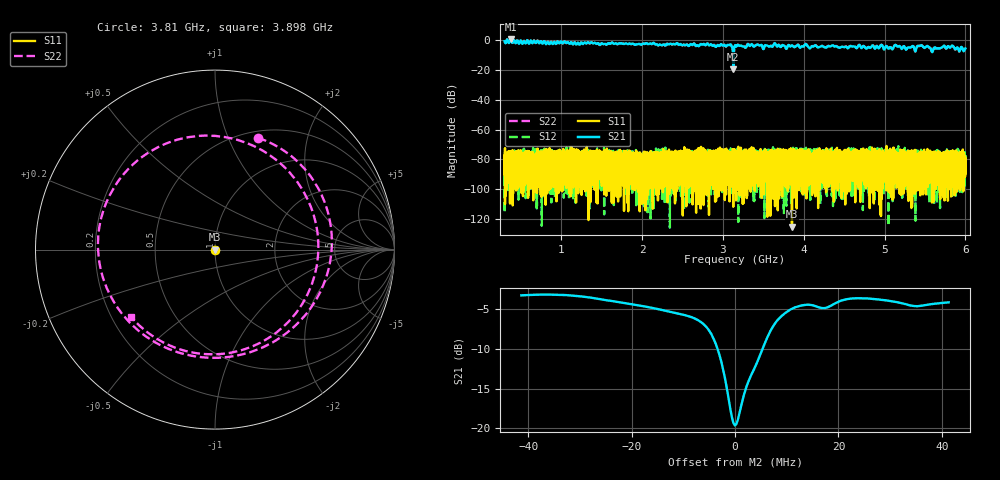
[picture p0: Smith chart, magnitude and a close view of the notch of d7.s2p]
!Agilent Technologies,N5230C,SG49000117,A.08.50.07
!Agilent N5230C: A.08.50.07
!Date: Sunday, March 17, 2024 02:41:05
!Correction: S11(Off)
!S21(Off)
!S12(Off)
!S22(Off)
!S2P File: Measurements: S11, S21, S12, S22:
# Hz S  RI  R 50
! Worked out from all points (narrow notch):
!   20001 points, 300 MHz to 6 GHz, reference 50 ohm
!   highest |S21| = 0.45 dB at 373.8 MHz (marker M1); lowest = -19.6 dB at 3.129 GHz (marker M2)
!   notch at M2: 16.0 dB deep, 6.93 MHz wide at half that depth
!   lowest |S11| = -124.9 dB at 3.855 GHz (marker M3), VSWR 1.00, Z = 50 - j1.93e-05 ohm
!   |S11| at or under -10 dB: start of sweep to end of sweep
!   |S22| runs from -19.6 to 0.5 dB; largest |S21 - S12| = 1.1
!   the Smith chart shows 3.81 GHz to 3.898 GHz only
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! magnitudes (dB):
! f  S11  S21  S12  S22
! 300 MHz  -89.0  -0.9  -83.1  -0.9
! 373.8 MHz  -90.5  0.5  -90.6  0.5
! 1.25 GHz  -91.9  -1.8  -83.0  -1.7
! 2.2 GHz  -82.2  -3.7  -85.6  -3.7
! 3.078 GHz  -79.1  -3.5  -76.4  -3.5
! 3.129 GHz  -83.0  -19.6  -80.8  -19.6
! 3.15 GHz  -86.8  -3.9  -76.7  -3.9
! 3.166 GHz  -77.1  -4.5  -86.5  -4.4
! 3.2 GHz  -78.9  -3.9  -76.6  -3.9
! 3.265 GHz  -84.6  -4.6  -79.4  -4.5
! 3.855 GHz  -124.9  -3.7  -79.2  -3.6
! 4.027 GHz  -83.7  -2.9  -84.4  -2.7
! 4.1 GHz  -88.1  -4.3  -76.0  -4.2
! 5.05 GHz  -85.7  -5.9  -78.6  -5.8
! 5.147 GHz  -85.5  -3.9  -93.0  -3.9
! 5.383 GHz  -83.9  -7.7  -79.2  -7.7
! 5.441 GHz  -85.4  -3.9  -83.9  -3.9
! 5.541 GHz  -86.4  -4.6  -93.8  -4.6
! 5.582 GHz  -94.7  -7.6  -86.1  -7.6
! 5.822 GHz  -79.8  -4.6  -76.6  -4.7
! 5.971 GHz  -85.9  -6.9  -80.1  -7.0
! 6 GHz  -81.5  -5.8  -77.0  -5.8
